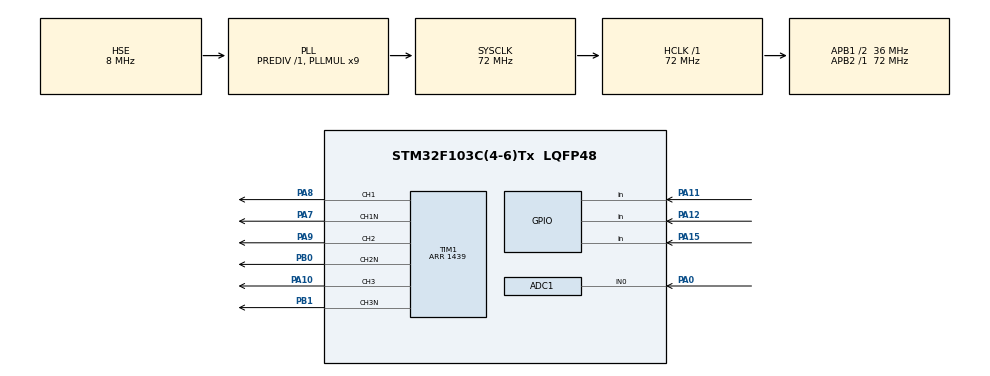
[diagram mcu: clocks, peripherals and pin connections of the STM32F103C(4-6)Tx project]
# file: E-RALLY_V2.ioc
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ADC1.Channel-1\#ChannelRegularConversion=ADC_CHANNEL_0
ADC1.ContinuousConvMode=ENABLE
ADC1.DataAlign=ADC_DATAALIGN_RIGHT
ADC1.NbrOfConversion=1
ADC1.NbrOfConversionFlag=1
ADC1.Rank-1\#ChannelRegularConversion=1
ADC1.SamplingTime-1\#ChannelRegularConversion=ADC_SAMPLETIME_239CYCLES_5
ADC1.master=1
Mcu.Family=STM32F1
Mcu.Name=STM32F103C(4-6)Tx
Mcu.Package=LQFP48
NVIC.PriorityGroup=NVIC_PRIORITYGROUP_4
PA0-WKUP.Signal=ADCx_IN0
PA10.Signal=S_TIM1_CH3
PA11.GPIO_PuPd=GPIO_PULLUP
PA11.Signal=GPIO_Input
PA12.GPIO_PuPd=GPIO_PULLUP
PA12.Signal=GPIO_Input
PA13.Mode=Serial_Wire
PA13.Signal=SYS_JTMS-SWDIO
PA14.Mode=Serial_Wire
PA14.Signal=SYS_JTCK-SWCLK
PA15.GPIO_PuPd=GPIO_PULLUP
PA15.Signal=GPIO_Input
PA7.Mode=PWM Generation1 CH1 CH1N
PA7.Signal=TIM1_CH1N
PA8.Signal=S_TIM1_CH1
PA9.Signal=S_TIM1_CH2
PB0.Mode=PWM Generation2 CH2 CH2N
PB0.Signal=TIM1_CH2N
PB1.Mode=PWM Generation3 CH3 CH3N
PB1.Signal=TIM1_CH3N
PD0-OSC_IN.Mode=HSE-External-Oscillator
PD0-OSC_IN.Signal=RCC_OSC_IN
PD1-OSC_OUT.Mode=HSE-External-Oscillator
PD1-OSC_OUT.Signal=RCC_OSC_OUT
ProjectManager.HeapSize=0x200
ProjectManager.StackSize=0x400
ProjectManager.TargetToolchain=STM32CubeIDE
RCC.ADCPresc=RCC_ADCPCLK2_DIV6
RCC.AHBFreq_Value=72000000
RCC.APB1CLKDivider=RCC_HCLK_DIV2
RCC.APB1Freq_Value=36000000
RCC.APB1TimFreq_Value=72000000
RCC.APB2Freq_Value=72000000
RCC.APB2TimFreq_Value=72000000
RCC.HCLKFreq_Value=72000000
RCC.PLLMUL=RCC_PLL_MUL9
RCC.PLLSourceVirtual=RCC_PLLSOURCE_HSE
RCC.SYSCLKFreq_VALUE=72000000
RCC.SYSCLKSource=RCC_SYSCLKSOURCE_PLLCLK
RCC.USBFreq_Value=72000000
SH.ADCx_IN0.0=ADC1_IN0,IN0
SH.S_TIM1_CH1.0=TIM1_CH1,PWM Generation1 CH1 CH1N
SH.S_TIM1_CH2.0=TIM1_CH2,PWM Generation2 CH2 CH2N
SH.S_TIM1_CH3.0=TIM1_CH3,PWM Generation3 CH3 CH3N
TIM1.AutomaticOutput=TIM_AUTOMATICOUTPUT_ENABLE
TIM1.Channel-PWM\ Generation1\ CH1\ CH1N=TIM_CHANNEL_1
TIM1.Channel-PWM\ Generation2\ CH2\ CH2N=TIM_CHANNEL_2
TIM1.Channel-PWM\ Generation3\ CH3\ CH3N=TIM_CHANNEL_3
TIM1.OC1Preload_PWM=ENABLE
TIM1.OC2Preload_PWM=ENABLE
TIM1.OC3Preload_PWM=ENABLE
TIM1.OCNPolarity_1=TIM_OCNPOLARITY_HIGH
TIM1.OCNPolarity_2=TIM_OCNPOLARITY_HIGH
TIM1.OCNPolarity_3=TIM_OCNPOLARITY_HIGH
TIM1.OffStateIDLEMode=TIM_OSSI_ENABLE
TIM1.OffStateRunMode=TIM_OSSR_DISABLE
TIM1.Period=1439
TIM2.Prescaler=71
VP_TIM2_VS_ClockSourceINT.Mode=Internal
VP_TIM3_VS_ClockSourceINT.Mode=Internal
board=custom

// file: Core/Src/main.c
/* USER CODE BEGIN Header */
/**
  ******************************************************************************
  * @file           : main.c
  * @brief          : Main program body
  ******************************************************************************
  * @attention
  *
  * Copyright (c) 2025 STMicroelectronics.
  * All rights reserved.
  *
  * This software is licensed under terms that can be found in the LICENSE file
  * in the root directory of this software component.
  * If no LICENSE file comes with this software, it is provided AS-IS.
  *
  ******************************************************************************
  */
/* USER CODE END Header */
#include "main.h"
#include <math.h>

/* USER CODE BEGIN Includes */

// Macros For 6 Timer Channels to be more readable
#define PHASE_A TIM_CHANNEL_1
#define PHASE_B TIM_CHANNEL_2
#define PHASE_C TIM_CHANNEL_3
// Macros for Throttle Range
#define MIN_THROTTLE 0
#define MAX_THROTTLE 3560
// Macros For PWM Signal Range
#define MAX_PWM 1439 // 72MHz / 1440 = 50KHz
#define MIN_PWM 0
// Macro For Dead Time Period
#define DEADTIME_DELAY 20 // Real Deadtime in microsecond
// Macro For indicating that Hall in invalid state to avoid any damage
#define INVALID_STATE 255
// Size of Sine Look Up Table
#define SINE_TABLE_SIZE 1024
// Macro for Filter Size of ADC
#define ADC_FILTER_SIZE   254  // Size of the moving average window

#define MAX_INTERPOL_COUNTER 65535

// Static Global Variables for ADC Filter
static uint16_t adcSamples[ADC_FILTER_SIZE];
static uint8_t  adcIndex = 0;
// De ma3mola 3andohm in test we will know if it matter
#define MAX(a, b) ((a)>(b)?(a):(b)) // MAX(0,-2) 0>-2? 0:0
#define MIN(a, b) ((a)<(b)?(a):(b))

#define SECTOR_ANGLE_DEG   60.0f

// LookUp Table to generate Sin Wave
// Global sine table
uint16_t sine_LUT[SINE_TABLE_SIZE]= {
		720, 724, 728, 733, 737, 742, 746, 750, 755, 759, 764, 768, 772, 777, 781,
		786, 790, 794, 799, 803, 808, 812, 816, 821, 825, 829, 834, 838, 843, 847,
		851, 856, 860, 864, 869, 873, 877, 881, 886, 890, 894, 899, 903, 907, 911,
		916, 920, 924, 928, 933, 937, 941, 945, 949, 954, 958, 962, 966, 970, 974,
		978, 983, 987, 991, 995, 999, 1003, 1007, 1011, 1015, 1019, 1023, 1027, 1031,
		1035, 1039, 1043, 1047, 1051, 1055, 1059, 1063, 1066, 1070, 1074, 1078, 1082,
		1086, 1089, 1093, 1097, 1101, 1104, 1108, 1112, 1116, 1119, 1123, 1127, 1130,
		1134, 1137, 1141, 1145, 1148, 1152, 1155, 1159, 1162, 1166, 1169, 1173, 1176,
		1179, 1183, 1186, 1189, 1193, 1196, 1199, 1203, 1206, 1209, 1212, 1216, 1219,
		1222, 1225, 1228, 1231, 1234, 1238, 1241, 1244, 1247, 1250, 1253, 1256, 1259,
		1261, 1264, 1267, 1270, 1273, 1276, 1278, 1281, 1284, 1287, 1289, 1292, 1295,
		1297, 1300, 1303, 1305, 1308, 1310, 1313, 1315, 1318, 1320, 1323, 1325, 1327,
		1330, 1332, 1334, 1337, 1339, 1341, 1343, 1346, 1348, 1350, 1352, 1354, 1356,
		1358, 1360, 1362, 1364, 1366, 1368, 1370, 1372, 1374, 1375, 1377, 1379, 1381,
		1383, 1384, 1386, 1388, 1389, 1391, 1392, 1394, 1395, 1397, 1398, 1400, 1401,
		1403, 1404, 1405, 1407, 1408, 1409, 1411, 1412, 1413, 1414, 1415, 1416, 1417,
		1418, 1420, 1421, 1422, 1422, 1423, 1424, 1425, 1426, 1427, 1428, 1428, 1429,
		1430, 1431, 1431, 1432, 1432, 1433, 1434, 1434, 1435, 1435, 1436, 1436, 1436,
		1437, 1437, 1437, 1438, 1438, 1438, 1438, 1439, 1439, 1439, 1439, 1439, 1439,
		1439, 1439, 1439, 1439, 1439, 1439, 1439, 1438, 1438, 1438, 1438, 1437, 1437,
		1437, 1436, 1436, 1436, 1435, 1435, 1434, 1434, 1433, 1432, 1432, 1431, 1431,
		1430, 1429, 1428, 1428, 1427, 1426, 1425, 1424, 1423, 1422, 1422, 1421, 1420,
		1418, 1417, 1416, 1415, 1414, 1413, 1412, 1411, 1409, 1408, 1407, 1405, 1404,
		1403, 1401, 1400, 1398, 1397, 1395, 1394, 1392, 1391, 1389, 1388, 1386, 1384,
		1383, 1381, 1379, 1377, 1375, 1374, 1372, 1370, 1368, 1366, 1364, 1362, 1360,
		1358, 1356, 1354, 1352, 1350, 1348, 1346, 1343, 1341, 1339, 1337, 1334, 1332,
		1330, 1327, 1325, 1323, 1320, 1318, 1315, 1313, 1310, 1308, 1305, 1303, 1300,
		1297, 1295, 1292, 1289, 1287, 1284, 1281, 1278, 1276, 1273, 1270, 1267, 1264,
		1261, 1259, 1256, 1253, 1250, 1247, 1244, 1241, 1238, 1234, 1231, 1228, 1225,
		1222, 1219, 1216, 1212, 1209, 1206, 1203, 1199, 1196, 1193, 1189, 1186, 1183,
		1179, 1176, 1173, 1169, 1166, 1162, 1159, 1155, 1152, 1148, 1145, 1141, 1137,
		1134, 1130, 1127, 1123, 1119, 1116, 1112, 1108, 1104, 1101, 1097, 1093, 1089,
		1086, 1082, 1078, 1074, 1070, 1066, 1063, 1059, 1055, 1051, 1047, 1043, 1039,
		1035, 1031, 1027, 1023, 1019, 1015, 1011, 1007, 1003, 999, 995, 991, 987, 983,
		978, 974, 970, 966, 962, 958, 954, 949, 945, 941, 937, 933, 928, 924, 920, 916,
		911, 907, 903, 899, 894, 890, 886, 881, 877, 873, 869, 864, 860, 856, 851, 847,
		843, 838, 834, 829, 825, 821, 816, 812, 808, 803, 799, 794, 790, 786, 781, 777,
		772, 768, 764, 759, 755, 750, 746, 742, 737, 733, 728, 724, 720, 715, 711, 706,
		702, 697, 693, 689, 684, 680, 675, 671, 667, 662, 658, 653, 649, 645, 640, 636,
		631, 627, 623, 618, 614, 610, 605, 601, 596, 592, 588, 583, 579, 575, 570, 566,
		562, 558, 553, 549, 545, 540, 536, 532, 528, 523, 519, 515, 511, 506, 502, 498,
		494, 490, 485, 481, 477, 473, 469, 465, 461, 456, 452, 448, 444, 440, 436, 432,
		428, 424, 420, 416, 412, 408, 404, 400, 396, 392, 388, 384, 380, 376, 373, 369,
		365, 361, 357, 353, 350, 346, 342, 338, 335, 331, 327, 323, 320, 316, 312, 309,
		305, 302, 298, 294, 291, 287, 284, 280, 277, 273, 270, 266, 263, 260, 256, 253,
		250, 246, 243, 240, 236, 233, 230, 227, 223, 220, 217, 214, 211, 208, 205, 201,
		198, 195, 192, 189, 186, 183, 180, 178, 175, 172, 169, 166, 163, 161, 158, 155,
		152, 150, 147, 144, 142, 139, 136, 134, 131, 129, 126, 124, 121, 119, 116, 114,
		112, 109, 107, 105, 102, 100, 98, 96, 93, 91, 89, 87, 85, 83, 81, 79, 77, 75,
		73, 71, 69, 67, 65, 64, 62, 60, 58, 56, 55, 53, 51, 50, 48, 47, 45, 44, 42, 41,
		39, 38, 36, 35, 34, 32, 31, 30, 28, 27, 26, 25, 24, 23, 22, 21, 19, 18, 17, 17,
		16, 15, 14, 13, 12, 11, 11, 10, 9, 8, 8, 7, 7, 6, 5, 5, 4, 4, 3, 3, 3, 2, 2, 2,
		1, 1, 1, 1, 0, 0, 0, 0, 0, 0, 0, 0, 0, 0, 0, 0, 0, 1, 1, 1, 1, 2, 2, 2, 3, 3, 3,
		4, 4, 5, 5, 6, 7, 7, 8, 8, 9, 10, 11, 11, 12, 13, 14, 15, 16, 17, 17, 18, 19, 21,
		22, 23, 24, 25, 26, 27, 28, 30, 31, 32, 34, 35, 36, 38, 39, 41, 42, 44, 45, 47,
		48, 50, 51, 53, 55, 56, 58, 60, 62, 64, 65, 67, 69, 71, 73, 75, 77, 79, 81, 83,
		85, 87, 89, 91, 93, 96, 98, 100, 102, 105, 107, 109, 112, 114, 116, 119, 121,
		124, 126, 129, 131, 134, 136, 139, 142, 144, 147, 150, 152, 155, 158, 161, 163,
		166, 169, 172, 175, 178, 180, 183, 186, 189, 192, 195, 198, 201, 205, 208, 211,
		214, 217, 220, 223, 227, 230, 233, 236, 240, 243, 246, 250, 253, 256, 260, 263,
		266, 270, 273, 277, 280, 284, 287, 291, 294, 298, 302, 305, 309, 312, 316, 320,
		323, 327, 331, 335, 338, 342, 346, 350, 353, 357, 361, 365, 369, 373, 376, 380,
		384, 388, 392, 396, 400, 404, 408, 412, 416, 420, 424, 428, 432, 436, 440, 444,
		448, 452, 456, 461, 465, 469, 473, 477, 481, 485, 490, 494, 498, 502, 506, 511,
		515, 519, 523, 528, 532, 536, 540, 545, 549, 553, 558, 562, 566, 570, 575, 579,
		583, 588, 592, 596, 601, 605, 610, 614, 618, 623, 627, 631, 636, 640, 645, 649,
		653, 658, 662, 667, 671, 675, 680, 684, 689, 693, 697, 702, 706, 711, 715
};

/* USER CODE END Includes */

/* USER CODE BEGIN PD */
// Global Variables For Debugging
uint8_t  HALL_GLOBAL = 0;
uint16_t ADC_BEFORE_SAMPLING = 0;
uint16_t ADC_AFTER_SAMPLING = 0;
uint16_t ADC_MAPPING = 0;
// Global Variable For Motor Position
uint8_t  Recent_state = 0;
uint8_t  Prev_state = INVALID_STATE;
// Debugging Theta
uint16_t THETA;
uint16_t THETA_A;
uint16_t THETA_B;
uint16_t THETA_C;

float FRAC;

static const uint16_t phase_shift = 120; // 120° in 1024-point table (1024/3 ≈ 341)

// Global variables for hall interpolation
uint8_t current_hall = 0;

uint8_t last_hall = 0;

uint32_t now = 0;
uint32_t last_time = 0;

uint32_t delta_time = 1000; // avoid division by zero

float base_angle = 0.0f;
float prev_base_angle = 0.0f;

/* USER CODE END PD */

ADC_HandleTypeDef hadc1;

TIM_HandleTypeDef htim1;
TIM_HandleTypeDef htim2;
TIM_HandleTypeDef htim3;

void SystemClock_Config(void);
static void MX_GPIO_Init(void);
static void MX_TIM1_Init(void);
static void MX_ADC1_Init(void);
static void MX_TIM2_Init(void);
static void MX_TIM3_Init(void);

/* USER CODE BEGIN 0 */

uint8_t Read_Hall_Sensors(void)
{
	// Read Hall Sensors FeedBack Signal
	uint8_t h3= HAL_GPIO_ReadPin(GPIOA, GPIO_PIN_11);
	uint8_t h2= HAL_GPIO_ReadPin(GPIOA, GPIO_PIN_12);
	uint8_t h1= HAL_GPIO_ReadPin(GPIOA, GPIO_PIN_15);
	// Shift Values to be in one variable for Checking
	uint8_t hall_value = h3<<2 | h2<<1 | h1<<0;
	// Check Values of Hall Sensor Reading ( For Debugging )
	HALL_GLOBAL = hall_value;
	return hall_value;
}

void Disable_Switches()
{
	TIM1->CCR1 = 0;
	TIM1->CCR2 = 0;
	TIM1->CCR3 = 0;

	HAL_TIM_PWM_Stop(&htim1, PHASE_A);  // A_HIGH A8
	HAL_TIM_PWM_Stop(&htim1, PHASE_B);  // B_HIGH A9
	HAL_TIM_PWM_Stop(&htim1, PHASE_C);  // C_HIGH A10

	HAL_TIMEx_PWMN_Stop(&htim1, PHASE_A); // A_LOW A7
	HAL_TIMEx_PWMN_Stop(&htim1, PHASE_B); // B_LOW B0
	HAL_TIMEx_PWMN_Stop(&htim1, PHASE_C); // C_LOW B1
}

uint16_t Throttle_mapping(uint16_t Value, uint16_t ADC_Min, uint16_t ADC_Max, uint16_t Min_PWM, uint16_t Max_PWM)
{
	if(Value > ADC_Max)
	{
		Value = ADC_Max;
	}
	else if (Value < ADC_Min)
	{
		Value = ADC_Min;
	}
	return (uint16_t)((Value - ADC_Min) * (Max_PWM - Min_PWM) / (ADC_Max - ADC_Min) + Min_PWM);
}

void Step1()
{
	HAL_TIM_PWM_Start(&htim1, PHASE_A); 	  // A_HIGH A8

	HAL_TIMEx_PWMN_Start(&htim1, PHASE_B);    // B_LOW B0
	HAL_TIMEx_PWMN_Start(&htim1, PHASE_C);    // C_LOW B1
}

void Step2()
{
	HAL_TIM_PWM_Start(&htim1, PHASE_A);       // A_HIGH A0
	HAL_TIM_PWM_Start(&htim1, PHASE_B);       // B_HIGH A1

	HAL_TIMEx_PWMN_Start(&htim1, PHASE_C);    // C_LOW B1
}

void Step3()
{
	HAL_TIM_PWM_Start(&htim1, PHASE_B);       // B_HIGH A1

	HAL_TIMEx_PWMN_Start(&htim1, PHASE_A);    // A_LOW A7
	HAL_TIMEx_PWMN_Start(&htim1, PHASE_C);    // C_LOW B1
}

void Step4()
{
	HAL_TIM_PWM_Start(&htim1, PHASE_B);      // B_HIGH A1
	HAL_TIM_PWM_Start(&htim1, PHASE_C);      // C_HIGH A2

	HAL_TIMEx_PWMN_Start(&htim1, PHASE_A);   // A_LOW A7
}

void Step5()
{
	HAL_TIM_PWM_Start(&htim1, PHASE_C);        // C_HIGH A2

	HAL_TIMEx_PWMN_Start(&htim1, PHASE_B);     // B_LOW B0
	HAL_TIMEx_PWMN_Start(&htim1, PHASE_A);     // A_LOW A7
}

void Step6()
{
	HAL_TIM_PWM_Start(&htim1, PHASE_A);        // A_HIGH A0
	HAL_TIM_PWM_Start(&htim1, PHASE_C);        // C_HIGH A2

	HAL_TIMEx_PWMN_Start(&htim1, PHASE_B);     // B_LOW A6
}

// Assumes 72 MHz system clock
void deadTimeDelay(uint32_t us) {
	__HAL_TIM_SET_COUNTER(&htim2, 0); // Reset the timer counter
	while (__HAL_TIM_GET_COUNTER(&htim2) < us); // Wait until the counter reaches the delay value
}

void safeDisableOutputs(uint16_t DeadTime)
{
	Disable_Switches();
//	HAL_Delay(500);
	deadTimeDelay(DeadTime);
}

// Hall to angle mapping
// Hall to base electrical angle (deg)
static float HallToAngle(uint8_t hall)
{
    switch (hall)
    {
        case 0b101: return 0.0f;
        case 0b100: return 60.0f;
        case 0b110: return 120.0f;
        case 0b010: return 180.0f;
        case 0b011: return 240.0f;
        case 0b001: return 300.0f;
        default:    return -1.0f; // invalid
    }
}

// Poll hall sensors and update sector timing
static void PollHallSensors(void)
{
    uint8_t new_hall = Read_Hall_Sensors();
    if (new_hall == current_hall)
    {
    	return; // no change
    }

    float ang = HallToAngle(new_hall);

    if (ang < 0.0f)
    {
    	return; // invalid state; ignore
    }

    now = __HAL_TIM_GET_COUNTER(&htim3);

    delta_time = (now >= last_time) ? (now - last_time) : (0xFFFFFFFF - last_time + now + 1);

    if (delta_time == 0)
    {
    	delta_time = 1; // protect
    }
    last_time = now;

    last_hall = current_hall;
    current_hall = new_hall;

    prev_base_angle = base_angle;
    base_angle = ang; // new sector base angle (0..300 step 60)
}

// Interpolated angle calculation
static float GetInterpolatedAngle(void)
{
    now = __HAL_TIM_GET_COUNTER(&htim3);

    uint32_t elapsed = (now >= last_time) ? (now - last_time) : (0xFFFFFFFF - last_time + now + 1);

    float fraction = (float)elapsed / (float)delta_time;

    if (fraction > 1.0f)
    {
    	fraction = 1.0f;
    }
    if (fraction < 0.0f)
    {
        	fraction = 0.0f;
    }
    FRAC = fraction;

    // Interpolate only across 60 electrical degrees (Hall sector width)
    float angle = base_angle + (fraction * SECTOR_ANGLE_DEG);
//    if (angle >= 360.0f) angle -= 360.0f; //Testing Something
    THETA = (uint16_t)angle;
    return angle;
}

void Control_BLDC(uint16_t ADC_TO_PWM , uint8_t hall)
{

	// Update Hall timing
	PollHallSensors();

	deadTimeDelay(1);

	float angle_deg = GetInterpolatedAngle();

	// Convert degrees -> LUT index
	uint16_t base_idx = (uint16_t)((angle_deg * (float)SINE_TABLE_SIZE) / 360.0f) % SINE_TABLE_SIZE;

	uint16_t idxA = base_idx;
	uint16_t idxB = (base_idx + phase_shift) % SINE_TABLE_SIZE;
	uint16_t idxC = (base_idx + 2*phase_shift) % SINE_TABLE_SIZE;
	THETA_A = idxA;
	THETA_B = idxB;
	THETA_C = idxC;

	// Scale LUT (0..MAX_PWM) by pwm_mag (0..MAX_PWM) => 0..MAX_PWM
	uint16_t dutyA = (uint16_t)(((uint32_t)sine_LUT[idxA] * ADC_TO_PWM) / MAX_PWM);
	uint16_t dutyB = (uint16_t)(((uint32_t)sine_LUT[idxB] * ADC_TO_PWM) / MAX_PWM);
	uint16_t dutyC = (uint16_t)(((uint32_t)sine_LUT[idxC] * ADC_TO_PWM) / MAX_PWM);

	dutyA = MIN(MAX_PWM, MAX(MIN_PWM, dutyA));
	dutyB = MIN(MAX_PWM, MAX(MIN_PWM, dutyB));
	dutyC = MIN(MAX_PWM, MAX(MIN_PWM, dutyC));

	TIM1->CCR1 = dutyA; // A
	TIM1->CCR2 = dutyB; // B
	TIM1->CCR3 = dutyC; // C

	  switch (hall)
	  {
	    case 0b101:  // Hall = 5 → Step1
	      Step1();
	      break;
	    case 0b100:  // Step2
	      Step2();
	      break;
	    case 0b110:  // Step3
	      Step3();
	      break;
	    case 0b010:  // Step4
	      Step4();
	      break;
	    case 0b011:  // Step5
	      Step5();
	      break;
	    case 0b001:  // Step6
	      Step6();
	      break;
	    default:
	      Disable_Switches();
	      break;
	  }
//	   Disable Switches for Dead Time to make sure that High & Low of each phase won't open together ( For Safety )
//	  safeDisableOutputs(DEADTIME_DELAY);
}

uint16_t ADC_Sampling(uint16_t ADC_Before)
{
	// Insert new sample into moving-average buffer
	adcSamples[adcIndex] = ADC_Before;
	adcIndex = (adcIndex + 1) % ADC_FILTER_SIZE;

	// Compute average of the buffer
	uint32_t sum = 0;
	for(uint16_t i = 0; i < ADC_FILTER_SIZE; i++) {
		sum += adcSamples[i];
	}
	return (uint16_t)(sum / ADC_FILTER_SIZE);
}

uint16_t StartADC(uint32_t TimeOut)
{
	// Start and Convert Analog Throttle Signal To Digital To be handled
	HAL_ADC_Start(&hadc1);
	HAL_ADC_PollForConversion(&hadc1, TimeOut);
	return HAL_ADC_GetValue(&hadc1);
}

void CheckState(uint8_t HALL_State)
{
	  if( Recent_state != Prev_state || Recent_state == INVALID_STATE )
	  {
		  safeDisableOutputs(DEADTIME_DELAY); // Unified handling for state change or invalid state
		  if(Recent_state != INVALID_STATE)
		  {
			  Prev_state = HALL_State; // Only update old_state if valid
		  }
	  }
}

/* USER CODE END 0 */

int main(void)
{

  /* MCU Configuration--------------------------------------------------------*/

  /* Reset of all peripherals, Initializes the Flash interface and the Systick. */
  HAL_Init();

  /* Configure the system clock */
  SystemClock_Config();

  /* Initialize all configured peripherals */
  MX_GPIO_Init();
  MX_TIM1_Init();
  MX_ADC1_Init();
  MX_TIM2_Init();
  MX_TIM3_Init();
  /* USER CODE BEGIN 2 */
  uint16_t ADCValue;
  uint16_t AdcMapp;
  uint16_t ADC_Sampled;
  uint8_t hall;

  HAL_TIM_Base_Start(&htim3); // timing for interpolation
  HAL_TIM_Base_Start(&htim2); // us delay timer

  /* USER CODE END 2 */

  /* Infinite loop */
  /* USER CODE BEGIN WHILE */
  while (1)
  {
	  // Start and read ADC (once)
	  ADCValue = StartADC(100);
	  // Check Values of ADC Before Sampling ( For Debugging )
	  ADC_BEFORE_SAMPLING = ADCValue;
	  //Sample / Filter The ADC Values to check the best one and reduce the noise
	  ADC_Sampled = ADC_Sampling(ADCValue);
	  // Check That Max & Min Values of sampled within Range of Throttle
	  if(ADC_Sampled < MIN_THROTTLE)
	  {
		  ADC_Sampled = MIN_THROTTLE;
	  }
	  if (ADC_Sampled > MAX_THROTTLE)
	  {
		  ADC_Sampled = MAX_THROTTLE;
	  }
	  // Check Values of ADC After Sampling ( For Debugging )
	  ADC_AFTER_SAMPLING = ADC_Sampled;
	  // Mapping the Throttle Value from Throttle Rang to Used PWM Range To Control Duty Cycle of PWM
	  AdcMapp = Throttle_mapping(ADC_Sampled, MIN_THROTTLE, MAX_THROTTLE, MIN_PWM, MAX_PWM);
	  // Check Values of Throttle Mapping ( For Debugging )
	  ADC_MAPPING = AdcMapp;
	  // Read Hall Sensor State ( Hall Sensor Feedback )
	  hall = Read_Hall_Sensors();
	  Recent_state = hall;
	  // Check Hall State
	  CheckState(hall);
	  /*
	   * ControlLing BLDC Motor By using two parameters ( Arguments )
	   * AdcMapp -> Control the speed of Motor and the switching of each MOSFETS
	   * hall -> FeedBack of Hall indicate the rotor position to take the right action ( Step ) to control motor
	   *
	   */
	  Control_BLDC(AdcMapp, hall);

	  //HAL_Delay(50);

    /* USER CODE END WHILE */

  }
}

void SystemClock_Config(void)
{
  RCC_OscInitTypeDef RCC_OscInitStruct = {0};
  RCC_ClkInitTypeDef RCC_ClkInitStruct = {0};
  RCC_PeriphCLKInitTypeDef PeriphClkInit = {0};

  /** Initializes the RCC Oscillators according to the specified parameters
  * in the RCC_OscInitTypeDef structure.
  */
  RCC_OscInitStruct.OscillatorType = RCC_OSCILLATORTYPE_HSE;
  RCC_OscInitStruct.HSEState = RCC_HSE_ON;
  RCC_OscInitStruct.HSEPredivValue = RCC_HSE_PREDIV_DIV1;
  RCC_OscInitStruct.HSIState = RCC_HSI_ON;
  RCC_OscInitStruct.PLL.PLLState = RCC_PLL_ON;
  RCC_OscInitStruct.PLL.PLLSource = RCC_PLLSOURCE_HSE;
  RCC_OscInitStruct.PLL.PLLMUL = RCC_PLL_MUL9;
  if (HAL_RCC_OscConfig(&RCC_OscInitStruct) != HAL_OK)
  {
    Error_Handler();
  }

  /** Initializes the CPU, AHB and APB buses clocks
  */
  RCC_ClkInitStruct.ClockType = RCC_CLOCKTYPE_HCLK|RCC_CLOCKTYPE_SYSCLK
                              |RCC_CLOCKTYPE_PCLK1|RCC_CLOCKTYPE_PCLK2;
  RCC_ClkInitStruct.SYSCLKSource = RCC_SYSCLKSOURCE_PLLCLK;
  RCC_ClkInitStruct.AHBCLKDivider = RCC_SYSCLK_DIV1;
  RCC_ClkInitStruct.APB1CLKDivider = RCC_HCLK_DIV2;
  RCC_ClkInitStruct.APB2CLKDivider = RCC_HCLK_DIV1;

  if (HAL_RCC_ClockConfig(&RCC_ClkInitStruct, FLASH_LATENCY_2) != HAL_OK)
  {
    Error_Handler();
  }
  PeriphClkInit.PeriphClockSelection = RCC_PERIPHCLK_ADC;
  PeriphClkInit.AdcClockSelection = RCC_ADCPCLK2_DIV6;
  if (HAL_RCCEx_PeriphCLKConfig(&PeriphClkInit) != HAL_OK)
  {
    Error_Handler();
  }
}

static void MX_ADC1_Init(void)
{

  ADC_ChannelConfTypeDef sConfig = {0};

  /** Common config
  */
  hadc1.Instance = ADC1;
  hadc1.Init.ScanConvMode = ADC_SCAN_DISABLE;
  hadc1.Init.ContinuousConvMode = ENABLE;
  hadc1.Init.DiscontinuousConvMode = DISABLE;
  hadc1.Init.ExternalTrigConv = ADC_SOFTWARE_START;
  hadc1.Init.DataAlign = ADC_DATAALIGN_RIGHT;
  hadc1.Init.NbrOfConversion = 1;
  if (HAL_ADC_Init(&hadc1) != HAL_OK)
  {
    Error_Handler();
  }

  /** Configure Regular Channel
  */
  sConfig.Channel = ADC_CHANNEL_0;
  sConfig.Rank = ADC_REGULAR_RANK_1;
  sConfig.SamplingTime = ADC_SAMPLETIME_239CYCLES_5;
  if (HAL_ADC_ConfigChannel(&hadc1, &sConfig) != HAL_OK)
  {
    Error_Handler();
  }

}

static void MX_TIM1_Init(void)
{

  TIM_MasterConfigTypeDef sMasterConfig = {0};
  TIM_OC_InitTypeDef sConfigOC = {0};
  TIM_BreakDeadTimeConfigTypeDef sBreakDeadTimeConfig = {0};

  htim1.Instance = TIM1;
  htim1.Init.Prescaler = 0;
  htim1.Init.CounterMode = TIM_COUNTERMODE_UP;
  htim1.Init.Period = 1439;
  htim1.Init.ClockDivision = TIM_CLOCKDIVISION_DIV1;
  htim1.Init.RepetitionCounter = 0;
  htim1.Init.AutoReloadPreload = TIM_AUTORELOAD_PRELOAD_DISABLE;
  if (HAL_TIM_PWM_Init(&htim1) != HAL_OK)
  {
    Error_Handler();
  }
  sMasterConfig.MasterOutputTrigger = TIM_TRGO_RESET;
  sMasterConfig.MasterSlaveMode = TIM_MASTERSLAVEMODE_DISABLE;
  if (HAL_TIMEx_MasterConfigSynchronization(&htim1, &sMasterConfig) != HAL_OK)
  {
    Error_Handler();
  }
  sConfigOC.OCMode = TIM_OCMODE_PWM1;
  sConfigOC.Pulse = 0;
  sConfigOC.OCPolarity = TIM_OCPOLARITY_HIGH;
  sConfigOC.OCNPolarity = TIM_OCNPOLARITY_HIGH;
  sConfigOC.OCFastMode = TIM_OCFAST_DISABLE;
  sConfigOC.OCIdleState = TIM_OCIDLESTATE_RESET;
  sConfigOC.OCNIdleState = TIM_OCNIDLESTATE_RESET;
  if (HAL_TIM_PWM_ConfigChannel(&htim1, &sConfigOC, TIM_CHANNEL_1) != HAL_OK)
  {
    Error_Handler();
  }
  if (HAL_TIM_PWM_ConfigChannel(&htim1, &sConfigOC, TIM_CHANNEL_2) != HAL_OK)
  {
    Error_Handler();
  }
  if (HAL_TIM_PWM_ConfigChannel(&htim1, &sConfigOC, TIM_CHANNEL_3) != HAL_OK)
  {
    Error_Handler();
  }
  sBreakDeadTimeConfig.OffStateRunMode = TIM_OSSR_DISABLE;
  sBreakDeadTimeConfig.OffStateIDLEMode = TIM_OSSI_ENABLE;
  sBreakDeadTimeConfig.LockLevel = TIM_LOCKLEVEL_OFF;
  sBreakDeadTimeConfig.DeadTime = 0;
  sBreakDeadTimeConfig.BreakState = TIM_BREAK_DISABLE;
  sBreakDeadTimeConfig.BreakPolarity = TIM_BREAKPOLARITY_HIGH;
  sBreakDeadTimeConfig.AutomaticOutput = TIM_AUTOMATICOUTPUT_ENABLE;
  if (HAL_TIMEx_ConfigBreakDeadTime(&htim1, &sBreakDeadTimeConfig) != HAL_OK)
  {
    Error_Handler();
  }
  HAL_TIM_MspPostInit(&htim1);

}

static void MX_TIM2_Init(void)
{

  TIM_ClockConfigTypeDef sClockSourceConfig = {0};
  TIM_MasterConfigTypeDef sMasterConfig = {0};

  htim2.Instance = TIM2;
  htim2.Init.Prescaler = 71;
  htim2.Init.CounterMode = TIM_COUNTERMODE_UP;
  htim2.Init.Period = 65535;
  htim2.Init.ClockDivision = TIM_CLOCKDIVISION_DIV1;
  htim2.Init.AutoReloadPreload = TIM_AUTORELOAD_PRELOAD_DISABLE;
  if (HAL_TIM_Base_Init(&htim2) != HAL_OK)
  {
    Error_Handler();
  }
  sClockSourceConfig.ClockSource = TIM_CLOCKSOURCE_INTERNAL;
  if (HAL_TIM_ConfigClockSource(&htim2, &sClockSourceConfig) != HAL_OK)
  {
    Error_Handler();
  }
  sMasterConfig.MasterOutputTrigger = TIM_TRGO_RESET;
  sMasterConfig.MasterSlaveMode = TIM_MASTERSLAVEMODE_DISABLE;
  if (HAL_TIMEx_MasterConfigSynchronization(&htim2, &sMasterConfig) != HAL_OK)
  {
    Error_Handler();
  }

}

static void MX_TIM3_Init(void)
{

  TIM_ClockConfigTypeDef sClockSourceConfig = {0};
  TIM_MasterConfigTypeDef sMasterConfig = {0};

  htim3.Instance = TIM3;
  htim3.Init.Prescaler = 0;
  htim3.Init.CounterMode = TIM_COUNTERMODE_UP;
  htim3.Init.Period = 65535;
  htim3.Init.ClockDivision = TIM_CLOCKDIVISION_DIV1;
  htim3.Init.AutoReloadPreload = TIM_AUTORELOAD_PRELOAD_DISABLE;
  if (HAL_TIM_Base_Init(&htim3) != HAL_OK)
  {
    Error_Handler();
  }
  sClockSourceConfig.ClockSource = TIM_CLOCKSOURCE_INTERNAL;
  if (HAL_TIM_ConfigClockSource(&htim3, &sClockSourceConfig) != HAL_OK)
  {
    Error_Handler();
  }
  sMasterConfig.MasterOutputTrigger = TIM_TRGO_RESET;
  sMasterConfig.MasterSlaveMode = TIM_MASTERSLAVEMODE_DISABLE;
  if (HAL_TIMEx_MasterConfigSynchronization(&htim3, &sMasterConfig) != HAL_OK)
  {
    Error_Handler();
  }

}

static void MX_GPIO_Init(void)
{
  GPIO_InitTypeDef GPIO_InitStruct = {0};

  /* GPIO Ports Clock Enable */
  __HAL_RCC_GPIOD_CLK_ENABLE();
  __HAL_RCC_GPIOA_CLK_ENABLE();
  __HAL_RCC_GPIOB_CLK_ENABLE();

  /*Configure GPIO pins : PA11 PA12 PA15 */
  GPIO_InitStruct.Pin = GPIO_PIN_11|GPIO_PIN_12|GPIO_PIN_15;
  GPIO_InitStruct.Mode = GPIO_MODE_INPUT;
  GPIO_InitStruct.Pull = GPIO_PULLUP;
  HAL_GPIO_Init(GPIOA, &GPIO_InitStruct);

}

void Error_Handler(void)
{
  __disable_irq();
  while (1)
  {
  }
}
